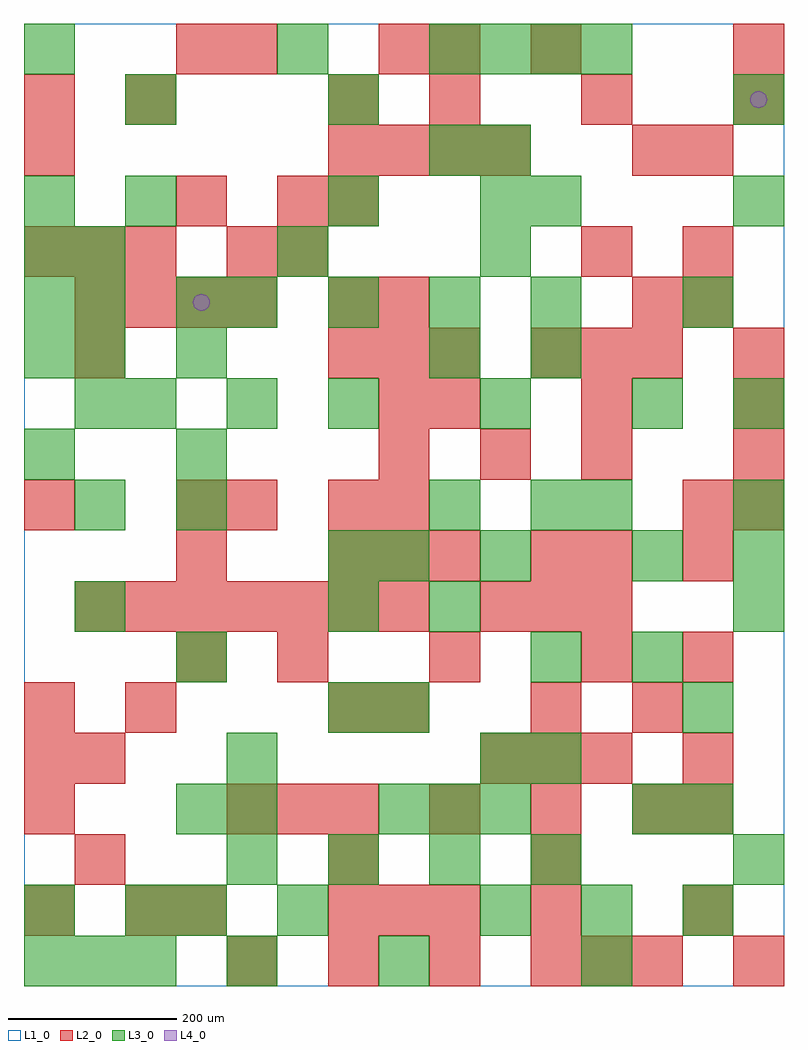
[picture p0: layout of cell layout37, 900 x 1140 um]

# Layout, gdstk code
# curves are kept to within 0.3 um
import gdstk
lib = gdstk.Library(unit=1e-6, precision=1e-09)
def R(c, l, rs):  # rectangles x0, y0, x1, y1
    for r in rs: c.add(gdstk.rectangle(r[:2], r[2:], *l))
def A(c, l, x, y, w, h, nx, ny, dx, dy):  # array of equal rectangles
    R(c, l, [(x+i*dx, y+j*dy, x+i*dx+w, y+j*dy+h) for i in range(nx) for j in range(ny)])
def P(c, l, *ps):  # polygons
    for p in ps: c.add(gdstk.Polygon(p, *l))
L1_0 = (1, 0)
L2_0 = (2, 0)
L3_0 = (3, 0)
L4_0 = (4, 0)

layout37 = lib.new_cell('layout37')
R(layout37, L1_0, [(0,0,900,1140)])
A(layout37, L2_0, 240, 0, 60, 60, 4, 1, 120, 0)
A(layout37, L2_0, 360, 60, 60, 60, 3, 2, 60, 420)
A(layout37, L2_0, 600, 120, 60, 60, 1, 3, 0, 180)
A(layout37, L2_0, 0, 180, 60, 60, 1, 3, 0, 60)
A(layout37, L2_0, 240, 180, 60, 60, 3, 1, 60, 0)
A(layout37, L2_0, 480, 180, 60, 60, 3, 1, 120, 0)
A(layout37, L2_0, 540, 240, 60, 60, 3, 2, 60, 180)
A(layout37, L2_0, 780, 240, 60, 60, 1, 3, 0, 120)
A(layout37, L2_0, 360, 300, 60, 60, 1, 3, 0, 240)
A(layout37, L2_0, 300, 360, 60, 60, 3, 1, 180, 0)
A(layout37, L2_0, 60, 420, 60, 60, 7, 1, 60, 0)
A(layout37, L2_0, 420, 540, 60, 60, 1, 3, 0, 120)
A(layout37, L2_0, 420, 600, 60, 60, 3, 1, 120, 0)
A(layout37, L2_0, 480, 660, 60, 60, 3, 2, 180, 360)
A(layout37, L2_0, 360, 720, 60, 60, 3, 1, 60, 0)
A(layout37, L2_0, 600, 720, 60, 60, 3, 1, 60, 0)
A(layout37, L2_0, 60, 780, 60, 60, 4, 1, 60, 0)
A(layout37, L2_0, 0, 840, 60, 60, 3, 1, 60, 0)
A(layout37, L2_0, 360, 960, 60, 60, 4, 1, 60, 0)
R(layout37, L2_0, [(660,0,720,60), (720,0,780,60), (840,0,900,60), (0,60,60,120), (120,60,180,120), (180,60,240,120), (600,60,660,120), (780,60,840,120), (60,120,120,180), (360,120,420,180), (780,180,840,240), (60,240,120,300), (120,300,180,360), (420,300,480,360), (720,300,780,360), (180,360,240,420), (180,480,240,540), (660,480,720,540), (0,540,60,600), (180,540,240,600), (240,540,300,600), (780,540,840,600), (840,540,900,600), (840,600,900,660), (60,720,120,780), (840,720,900,780), (720,780,780,840), (780,780,840,840), (240,840,300,900), (300,840,360,900), (660,840,720,900), (780,840,840,900), (180,900,240,960), (300,900,360,960), (360,900,420,960), (0,960,60,1020), (720,960,780,1020), (780,960,840,1020), (0,1020,60,1080), (120,1020,180,1080), (360,1020,420,1080), (180,1080,240,1140), (240,1080,300,1140), (420,1080,480,1140), (480,1080,540,1140), (600,1080,660,1140), (840,1080,900,1140)])
A(layout37, L3_0, 0, 0, 60, 60, 3, 1, 60, 0)
A(layout37, L3_0, 540, 60, 60, 60, 3, 1, 120, 0)
A(layout37, L3_0, 240, 120, 60, 60, 4, 2, 120, 660)
A(layout37, L3_0, 180, 180, 60, 60, 1, 3, 0, 180)
A(layout37, L3_0, 420, 180, 60, 60, 3, 1, 60, 0)
A(layout37, L3_0, 600, 360, 60, 60, 1, 4, 0, 180)
A(layout37, L3_0, 60, 420, 60, 60, 1, 3, 0, 120)
A(layout37, L3_0, 840, 420, 60, 60, 1, 3, 0, 60)
A(layout37, L3_0, 120, 660, 60, 60, 3, 1, 120, 0)
A(layout37, L3_0, 0, 720, 60, 60, 1, 4, 0, 60)
A(layout37, L3_0, 60, 840, 60, 60, 3, 1, 240, 0)
A(layout37, L3_0, 480, 1080, 60, 60, 4, 1, 60, 0)
R(layout37, L3_0, [(240,0,300,60), (420,0,480,60), (660,0,720,60), (0,60,60,120), (120,60,180,120), (180,60,240,120), (300,60,360,120), (840,120,900,180), (240,180,300,240), (720,180,780,240), (780,180,840,240), (240,240,300,300), (540,240,600,300), (600,240,660,300), (360,300,420,360), (420,300,480,360), (780,300,840,360), (720,360,780,420), (360,420,420,480), (480,420,540,480), (360,480,420,540), (420,480,480,540), (540,480,600,540), (720,480,780,540), (480,540,540,600), (660,540,720,600), (0,600,60,660), (180,600,240,660), (540,660,600,720), (720,660,780,720), (840,660,900,720), (60,720,120,780), (180,720,240,780), (480,720,540,780), (60,780,120,840), (180,780,240,840), (780,780,840,840), (120,900,180,960), (360,900,420,960), (540,900,600,960), (840,900,900,960), (480,960,540,1020), (540,960,600,1020), (120,1020,180,1080), (360,1020,420,1080), (840,1020,900,1080), (0,1080,60,1140), (300,1080,360,1140)])
P(layout37, L4_0, [(220,810),(219.239,813.827),(217.071,817.071),(213.827,819.239),(210,820),(206.173,819.239),(202.929,817.071),(200.761,813.827),(200,810),(200.761,806.173),(202.929,802.929),(206.173,800.761),(210,800),(213.827,800.761),(217.071,802.929),(219.239,806.173)],
  [(880,1050),(879.239,1053.827),(877.071,1057.071),(873.827,1059.239),(870,1060),(866.173,1059.239),(862.929,1057.071),(860.761,1053.827),(860,1050),(860.761,1046.173),(862.929,1042.929),(866.173,1040.761),(870,1040),(873.827,1040.761),(877.071,1042.929),(879.239,1046.173)])

lib.write_gds('layout37.gds')
